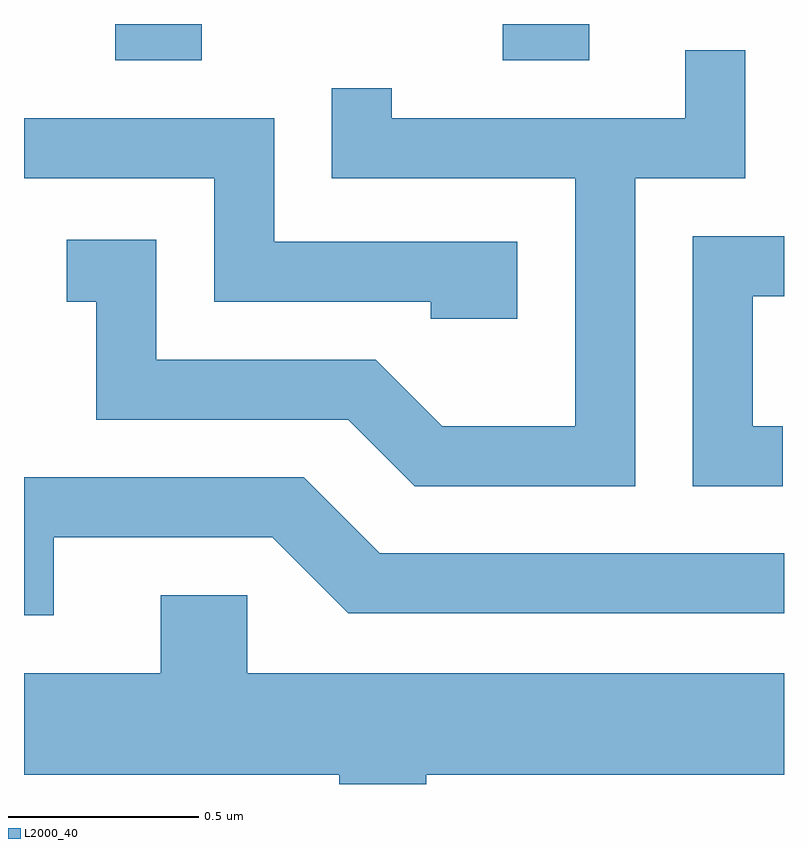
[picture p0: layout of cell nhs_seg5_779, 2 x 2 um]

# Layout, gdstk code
import gdstk
lib = gdstk.Library(unit=1e-6, precision=1e-09)
def R(c, l, rs):  # rectangles x0, y0, x1, y1
    for r in rs: c.add(gdstk.rectangle(r[:2], r[2:], *l))
def P(c, l, *ps):  # polygons
    for p in ps: c.add(gdstk.Polygon(p, *l))
L2000_40 = (2000, 40)

nhs_seg5_779 = lib.new_cell('nhs_seg5_779')
R(nhs_seg5_779, L2000_40, [(190.851,1491.976,191.079,1492.072), (191.871,1491.976,192.099,1492.072)])
P(nhs_seg5_779, L2000_40, [(192.219,1491.666),(192.509,1491.666),(192.509,1492.003),(192.351,1492.003),(192.351,1491.824),(191.579,1491.824),(191.579,1491.903),(191.421,1491.903),(191.421,1491.666),(192.061,1491.666),(192.061,1491.014),(191.712,1491.014),(191.537,1491.189),(190.959,1491.189),(190.959,1491.504),(190.723,1491.504),(190.723,1491.341),(190.801,1491.341),(190.801,1491.031),(191.464,1491.031),(191.639,1490.856),(192.219,1490.856)],
  [(191.909,1491.499),(191.269,1491.499),(191.269,1491.824),(190.611,1491.824),(190.611,1491.666),(191.111,1491.666),(191.111,1491.341),(191.681,1491.341),(191.681,1491.296),(191.909,1491.296)],
  [(192.608,1491.014),(192.529,1491.014),(192.529,1491.356),(192.611,1491.356),(192.611,1491.514),(192.371,1491.514),(192.371,1490.856),(192.608,1490.856)],
  [(190.689,1490.721),(191.264,1490.721),(191.464,1490.521),(192.611,1490.521),(192.611,1490.679),(191.547,1490.679),(191.347,1490.879),(190.611,1490.879),(190.611,1490.516),(190.689,1490.516)],
  [(191.669,1490.096),(192.611,1490.096),(192.611,1490.364),(191.199,1490.364),(191.199,1490.569),(190.971,1490.569),(190.971,1490.364),(190.611,1490.364),(190.611,1490.096),(191.441,1490.096),(191.441,1490.072),(191.669,1490.072)])

lib.write_gds('nhs_seg5_779.gds')
